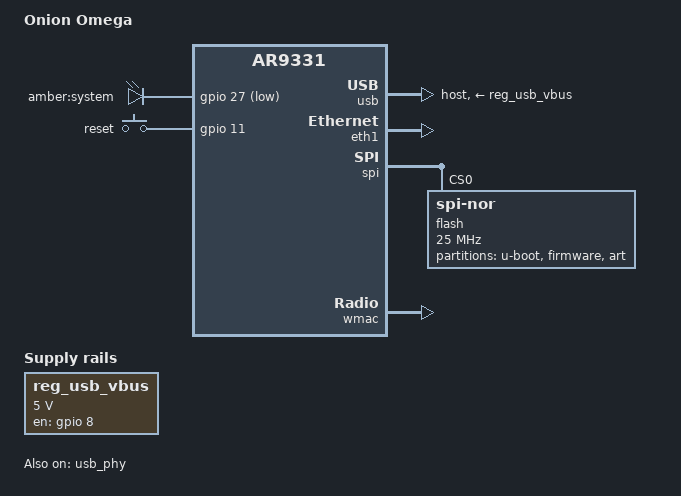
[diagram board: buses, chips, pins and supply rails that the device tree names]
// SPDX-License-Identifier: GPL-2.0-or-later OR MIT

#include "ar9331.dtsi"

#include <dt-bindings/gpio/gpio.h>
#include <dt-bindings/input/input.h>

/ {
	model = "Onion Omega";
	compatible = "onion,omega", "qca,ar9331";

	aliases {
		serial0 = &uart;
		label-mac-device = &wmac;
		led-boot = &led_system;
		led-failsafe = &led_system;
		led-running = &led_system;
		led-upgrade = &led_system;
	};

	leds {
		compatible = "gpio-leds";

		led_system: system {
			label = "amber:system";
			gpios = <&gpio 27 GPIO_ACTIVE_LOW>;
		};
	};

	keys {
		compatible = "gpio-keys";

		reset {
			label = "reset";
			linux,code = <KEY_RESTART>;
			gpios = <&gpio 11 GPIO_ACTIVE_HIGH>;
			debounce-interval = <60>;
		};
	};

	reg_usb_vbus: reg_usb_vbus {
		compatible = "regulator-fixed";
		regulator-name = "usb_vbus";
		regulator-min-microvolt = <5000000>;
		regulator-max-microvolt = <5000000>;
		gpio = <&gpio 8 GPIO_ACTIVE_HIGH>;
		enable-active-high;
	};
};

&ref {
	clock-frequency = <25000000>;
};

&usb {
	status = "okay";

	vbus-supply = <&reg_usb_vbus>;
	dr_mode = "host";
};

&usb_phy {
	status = "okay";
};

&eth0 {
	status = "okay";

	compatible = "syscon", "simple-mfd";
};

&eth1 {
	status = "okay";

	nvmem-cells = <&macaddr_uboot_1fc00>;
	nvmem-cell-names = "mac-address";
	mac-address-increment = <(-1)>;

	gmac-config {
		device = <&gmac>;
		switch-phy-addr-swap = <4>;
		switch-phy-swap = <4>;
	};
};

&spi {
	status = "okay";

	flash@0 {
		compatible = "jedec,spi-nor";
		spi-max-frequency = <25000000>;
		reg = <0>;

		partitions {
			compatible = "fixed-partitions";
			#address-cells = <1>;
			#size-cells = <1>;

			uboot: partition@0 {
				label = "u-boot";
				reg = <0x000000 0x020000>;
				read-only;
			};

			partition@20000 {
				compatible = "tplink,firmware";
				label = "firmware";
				reg = <0x020000 0xfd0000>;
			};

			art: partition@ff0000 {
				label = "art";
				reg = <0xff0000 0x010000>;
				read-only;
			};
		};
	};
};

&wmac {
	status = "okay";

	mtd-cal-data = <&art 0x1000>;

	nvmem-cells = <&macaddr_uboot_1fc00>;
	nvmem-cell-names = "mac-address";
};

&uboot {
	compatible = "nvmem-cells";
	#address-cells = <1>;
	#size-cells = <1>;

	macaddr_uboot_1fc00: macaddr@1fc00 {
		reg = <0x1fc00 0x6>;
	};
};
